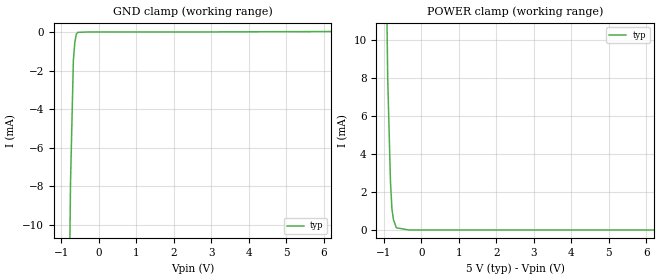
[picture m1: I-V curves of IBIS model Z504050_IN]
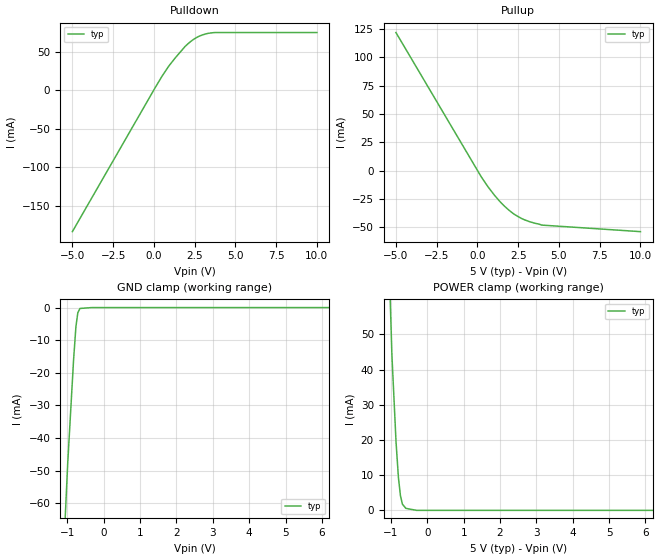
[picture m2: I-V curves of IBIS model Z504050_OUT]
| YOU ARE ONLY AUTHORIZED TO USE THIS SOFTWARE
| ACCORDING TO LICENSOR'S LICENSE RESTRICTIONS.
[IBIS Ver] 3.1
[File Name] mc54hc02aj.ibs
[File Rev] 2.0
[Source] Measured and created by ICX Technology
[Date] Friday 7/14/00 9:08:05 AM
[Copyright]
| (C) COPYRIGHT 1993-2000
| MENTOR GRAPHICS CORPORATION
| ICX STANDARD LIBRARY, ICX PROJECT MODELING,
| ICX CUSTOM MODELING, ICX VENDOR MODEL
| ALL RIGHTS RESERVED.
| THE FOLLOWING ARE TRADEMARKS OR SERVICE MARKS OF
| MENTOR GRAPHICS CORPORATION:ICX (R), ICX STANDARD
| LIBRARY(R), ICX PROJECT MODELING(R), ICX CUSTOM
| MODELING(R), qualityIBIS(TM), MODELVIEWER(TM),
| AND MODELEDITOR(TM)
| ALL COPIES OF SOFTWARE, INCLUDING BUT NOT LIMITED TO
| ANY MODIFICATIONS, ENHANCEMENTS OR DERIVATIVE WORKS,
| MUST CONTAIN ALL MENTOR GRAPHICS CORPORATION'S
| NOTICES AND LEGENDS, INCLUDING THOSE EMBEDDED IN
| SOFTWARE AND THOSE AFFIXED TO SOFTWARE MEDIUM
| AND CONTAINER, AS RECEIVED FROM MENTOR GRAPHICS
| CORPORATION.
|  ZAP Model Builder 2.7
[Component] MC54HC02AJ
[Manufacturer] OnSemiconductor
[Package]
| variable   typ   min   max
R_pkg  .21ohms NA NA
L_pkg  4.543nH NA NA
C_pkg  1.8pF NA NA
[Pin] signal_name  model_name  R_pin  L_pin C_pin
1 Y Z504050_OUT .22 6.757n 2.434p
2 A Z504050_IN .212 4.757n 1.941p
3 B Z504050_IN .204 3.257n 1.448p
4 Y Z504050_OUT .196 2.257n .955p
5 A Z504050_IN .204 3.257n 1.448p
6 B Z504050_IN .212 4.757n 1.941p
7 GND GND .22 6.757n 2.434p
8 A Z504050_IN .22 6.757n 2.434p
9 B Z504050_IN .212 4.757n 1.941p
10 Y Z504050_OUT .204 3.257n 1.448p
11 A Z504050_IN .196 2.257n .955p
12 B Z504050_IN .204 3.257n 1.448p
13 Y Z504050_OUT .212 4.757n 1.941p
14 VCC POWER .22 6.757n 2.434p
| Models and submodels in the file (2): Z504050_IN (Input), Z504050_OUT (Output)
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| (C) COPYRIGHT 1993-2000
| MENTOR GRAPHICS CORPORATION
| ICX STANDARD LIBRARY, ICX PROJECT MODELING,
| ICX CUSTOM MODELING, ICX VENDOR MODEL
| ALL RIGHTS RESERVED.
| THE FOLLOWING ARE TRADEMARKS OR SERVICE MARKS OF
| MENTOR GRAPHICS CORPORATION:ICX (R), ICX STANDARD
| LIBRARY(R), ICX PROJECT MODELING(R), ICX CUSTOM
| MODELING(R), qualityIBIS(TM), MODELVIEWER(TM),
| AND MODELEDITOR(TM)
| ALL COPIES OF SOFTWARE, INCLUDING BUT NOT LIMITED TO
| ANY MODIFICATIONS, ENHANCEMENTS OR DERIVATIVE WORKS,
| MUST CONTAIN ALL MENTOR GRAPHICS CORPORATION'S
| NOTICES AND LEGENDS, INCLUDING THOSE EMBEDDED IN
| SOFTWARE AND THOSE AFFIXED TO SOFTWARE MEDIUM
| AND CONTAINER, AS RECEIVED FROM MENTOR GRAPHICS
| CORPORATION.
| Model Application Version 1.89 2/18/99.
[Model] Z504050_IN
Model_type Input
Vinl = 1.500V
Vinh = 3.500V
C_comp 4.000pF NA NA
| variable typ   min   max
[Voltage Range] 5.000V NA NA
[GND Clamp Reference] 0.000V NA NA
[POWER Clamp Reference] 5.000V NA NA
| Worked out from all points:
|   GND clamp passes 1 mA (typ) near -0.66 V on its own axis
|   POWER clamp passes 1 mA (typ) near -0.78 V on its own axis
[GND Clamp]
-5V       -806.3mA   NA         NA
-755.6mV  -7.901mA   NA         NA
-678.9mV  -1.488mA   NA         NA
-639.4mV  -530.9uA   NA         NA
-600.9mV  -122.4uA   NA         NA
-561.4mV  -21.42uA   NA         NA
-280.7mV  -591.8nA   NA         NA
2.622V    -591.8nA   NA         NA
10V       46.52uA    NA         NA
[POWER Clamp]
-5V       1.271A     NA         NA
-1.176V   67.09mA    NA         NA
-1.018V   27.21mA    NA         NA
-897mV    8.055mA    NA         NA
-823mV    2.537mA    NA         NA
-782mV    1.078mA    NA         NA
-742mV    534.8uA    NA         NA
-665mV    113.9uA    NA         NA
-332.5mV  0A         NA         NA
10V       0A         NA         NA
| (C) COPYRIGHT 1993-2000
| MENTOR GRAPHICS CORPORATION
| ICX STANDARD LIBRARY, ICX PROJECT MODELING,
| ICX CUSTOM MODELING, ICX VENDOR MODEL
| ALL RIGHTS RESERVED.
| THE FOLLOWING ARE TRADEMARKS OR SERVICE MARKS OF
| MENTOR GRAPHICS CORPORATION:ICX (R), ICX STANDARD
| LIBRARY(R), ICX PROJECT MODELING(R), ICX CUSTOM
| MODELING(R), qualityIBIS(TM), MODELVIEWER(TM),
| AND MODELEDITOR(TM)
| ALL COPIES OF SOFTWARE, INCLUDING BUT NOT LIMITED TO
| ANY MODIFICATIONS, ENHANCEMENTS OR DERIVATIVE WORKS,
| MUST CONTAIN ALL MENTOR GRAPHICS CORPORATION'S
| NOTICES AND LEGENDS, INCLUDING THOSE EMBEDDED IN
| SOFTWARE AND THOSE AFFIXED TO SOFTWARE MEDIUM
| AND CONTAINER, AS RECEIVED FROM MENTOR GRAPHICS
| CORPORATION.
| Model Application Version 1.89 2/18/99.
[Model] Z504050_OUT
Model_type Output
Vref=0.000V
Rref=500.0Mohms
Cref=50.00pF
Vmeas=2.500V
C_comp 8.000pF NA NA
| variable typ   min   max
[Voltage Range] 5.000V NA NA
[POWER Clamp Reference] 5.000V NA NA
[Pullup Reference] 5.000V NA NA
[Pulldown Reference] 0.000V NA NA
[GND Clamp Reference] 0.000V NA NA
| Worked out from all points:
|   slope of the pulldown table from 0 to 0.75 V, typ, clamps not added: 29.2 ohm
|   slope of the pullup table from 0 to 0.75 V, typ, clamps not added: 45.8 ohm
|   GND clamp passes 1 mA (typ) near -0.69 V on its own axis
|   POWER clamp passes 1 mA (typ) near -0.62 V on its own axis
[GND Clamp]
-5V       -1.016A    NA         NA
-992.2mV  -47.87mA   NA         NA
-831.2mV  -16.13mA   NA         NA
-766.1mV  -5.839mA   NA         NA
-714.1mV  -1.589mA   NA         NA
-654.3mV  -266uA     NA         NA
-327.1mV  0A         NA         NA
10V       0A         NA         NA
[Pulldown]
-5V       -183.4mA   NA         NA
502.5mV   18.14mA    NA         NA
908.8mV   31.02mA    NA         NA
1.32V     42.02mA    NA         NA
1.908V    56.46mA    NA         NA
2.282V    63.45mA    NA         NA
2.956V    71.43mA    NA         NA
3.736V    74.63mA    NA         NA
10V       74.65mA    NA         NA
[Pullup]
-5V       121.8mA    NA         NA
231mV     -5.303mA   NA         NA
645mV     -14.11mA   NA         NA
1.058V    -21.84mA   NA         NA
1.394V    -27.37mA   NA         NA
1.93V     -34.73mA   NA         NA
2.723V    -42.17mA   NA         NA
3.922V    -47.86mA   NA         NA
10V       -53.65mA   NA         NA
[POWER Clamp]
-5V       1.591A     NA         NA
-1.12V    93.39mA    NA         NA
-975mV    44.35mA    NA         NA
-862mV    19.62mA    NA         NA
-795mV    9.272mA    NA         NA
-739mV    4.113mA    NA         NA
-684mV    1.729mA    NA         NA
-590mV    571.7uA    NA         NA
-295mV    0A         NA         NA
10V       0A         NA         NA
[Ramp]
| variable typ min max
dV/dt_r 2.757/2.697n NA NA
dV/dt_f 2.757/2.645n NA NA
R_load = 500.0Ohms
